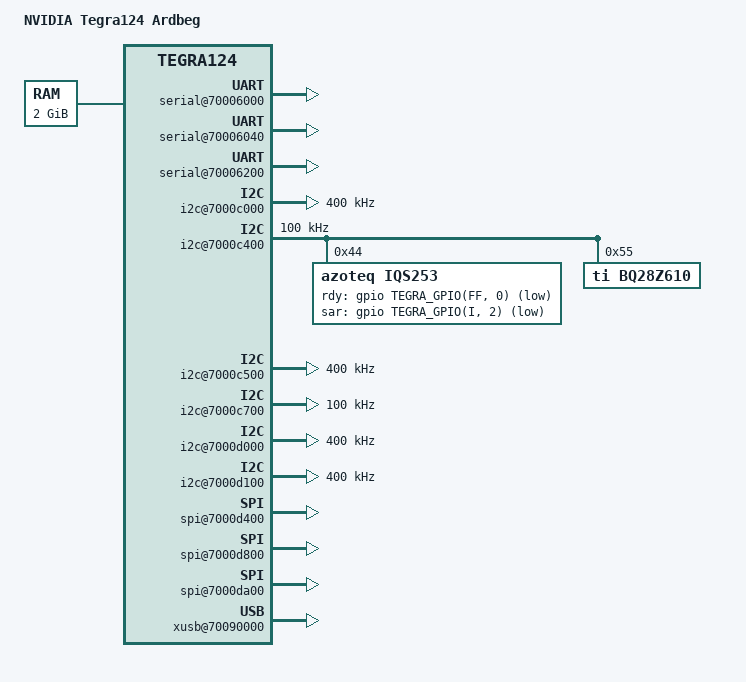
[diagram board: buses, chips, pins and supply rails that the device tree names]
/dts-v1/;

#include "tegra124.dtsi"
#include "tegra124-platforms/tegra124-tn8-gpio-e1780-1100-a02.dtsi"
#include "tegra124-platforms/tegra124-tn8-pinmux-e1780-1100-a02.dtsi"
#include "tegra124-platforms/tegra124-tn8-keys-e1780-1100-a02.dtsi"

/ {
	model = "NVIDIA Tegra124 Ardbeg";
	compatible = "nvidia,ardbeg", "nvidia,tegra124";
	nvidia,dtsfilename = __FILE__;
	#address-cells = <1>;
	#size-cells = <1>;

	chosen {
		bootargs = "tegraid=40.0.0.00.00 vmalloc=256M video=tegrafb console=ttyS0,115200n8 earlyprintk";
		linux,initrd-start = <0x85000000>;
		linux,initrd-end = <0x851bc400>;
	};
        serial@70006000 {
                compatible = "nvidia,tegra114-hsuart";
                status = "okay";
        };

        serial@70006040 {
                compatible = "nvidia,tegra114-hsuart";
                status = "okay";
        };

        serial@70006200 {
                compatible = "nvidia,tegra114-hsuart";
                status = "okay";
        };

	memory@0x80000000 {
		device_type = "memory";
		reg = <0x80000000 0x80000000>;
	};

	i2c@7000c000 {
		status = "okay";
		clock-frequency = <400000>;
	};

	i2c@7000c400 {
		status = "okay";
		clock-frequency = <100000>;

		iqs253@44 {
			compatible="azoteq,iqs253";
			reg=<0x44>;
			vendor="Azoteq";
			proximity,max-range="2";/*2cm*/
			proximity,integration-time="16000000";/*16msec*/
			proximity,power-consumed="1.67";/*approxmA*/
			rdy-gpio = <&gpio TEGRA_GPIO(FF, 0) GPIO_ACTIVE_LOW>;
			sar-gpio = <&gpio TEGRA_GPIO(I, 2) GPIO_ACTIVE_LOW>;
		};

		bq28z610: bq28z610@55 {
			compatible = "ti,bq28z610";
			reg = <0x55>;
			tz-name = "battery-temp";
			alert-threshold = <0>;          /* 1% SOC */
			one-percent-alerts = <1>;
			valert-max = <5100>;            /* not use */
			valert-min = <0>;            /* not use */
			vreset-threshold = <2400>;
			vreset-disable = <1>;           /* not use */
			hib-threshold = <48>;           /* 9.984%/hr */
			hib-active-threshold = <128>;   /* 160mV */
			bits = <18>;
			rcomp = <57>;
			rcomp-seg = <0x0200>;
			soccheck-a = <119>;
			soccheck-b = <121>;
			ocvtest = <55952>;
			soc_shift = <3>;
			data-tbl = <0x98 0x80 0xB3 0x50 0xB7 0x90 0xB9 0x00
				0xBA 0x70 0xBC 0x10 0xBC 0x50 0xBC 0xA0
				0xBD 0x20 0xBE 0x30 0xBF 0x40 0xC2 0xF0
				0xC4 0x20 0xC7 0xE0 0xCB 0xF0 0xD0 0x90
				0x00 0x40 0x06 0x70 0x0E 0x50 0x12 0x00
				0x18 0xD0 0x33 0x10 0x31 0x40 0x35 0xD0
				0x18 0xD0 0x19 0x00 0x0B 0xF0 0x0C 0x10
				0x0D 0x10 0x07 0x90 0x08 0x00 0x08 0x00>;
		};
	};

	i2c@7000c500 {
		status = "okay";
		clock-frequency = <400000>;
	};

	i2c@7000c700 {
		status = "okay";
		clock-frequency = <100000>;
	};

	i2c@7000d000 {
		status = "okay";
		clock-frequency = <400000>;
		nvidia,bit-banging-xfer-after-shutdown;
	};

	i2c@7000d100 {
		status = "okay";
		clock-frequency = <400000>;
	};

	spi@7000d400 {
		status = "okay";
		spi-max-frequency = <25000000>;
	};

	spi@7000d800 {
		status = "okay";
		spi-max-frequency = <25000000>;
	};

	spi@7000da00 {
		status = "okay";
		spi-max-frequency = <25000000>;
	};

	pmc {
		status = "okay";
		nvidia,invert-interrupt;
		nvidia,suspend-mode = <0>;
		nvidia,cpu-pwr-good-time = <500>;
		nvidia,cpu-pwr-off-time = <300>;
		nvidia,core-pwr-good-time = <3845 3845>;
		nvidia,core-pwr-off-time = <2000>;
		nvidia,core-power-req-active-high;
		nvidia,sys-clock-req-active-high;
	};

	xusb@70090000 {
		/* nvidia,uses_external_pmic;
		nvidia,gpio_controls_muxed_ss_lanes; */
		nvidia,gpio_ss1_sata = <0>;
		nvidia,portmap = <0x703>; /* SSP0, SSP1 USB2P0, USB2P1, USBP2 */
		nvidia,ss_portmap = <0x10>; /* SSP0 on USB2P0, SSP1 on USB2P2 */
		nvidia,lane_owner = <6>; /* USB3P0 USB3P1 */
		nvidia,ulpicap = <0>; /* No ulpi support. can we remove */
		nvidia,supply_utmi_vbuses = "usb_vbus0", "usb_vbus1", "usb_vbus2";
		nvidia,supply_s3p3v = "hvdd_usb";
		nvidia,supply_s1p8v = "avdd_pll_utmip";
		nvidia,supply_vddio_hsic = "vddio_hsic";
		nvidia,supply_s1p05v = "avddio_usb";
		/* hsic config values in order defined in structure */
		nvidia,hsic0 = /bits/8 <0x1 0x1 0x8 0xa 0 0 1 0x22 0>;
		status = "okay";
	};
};
